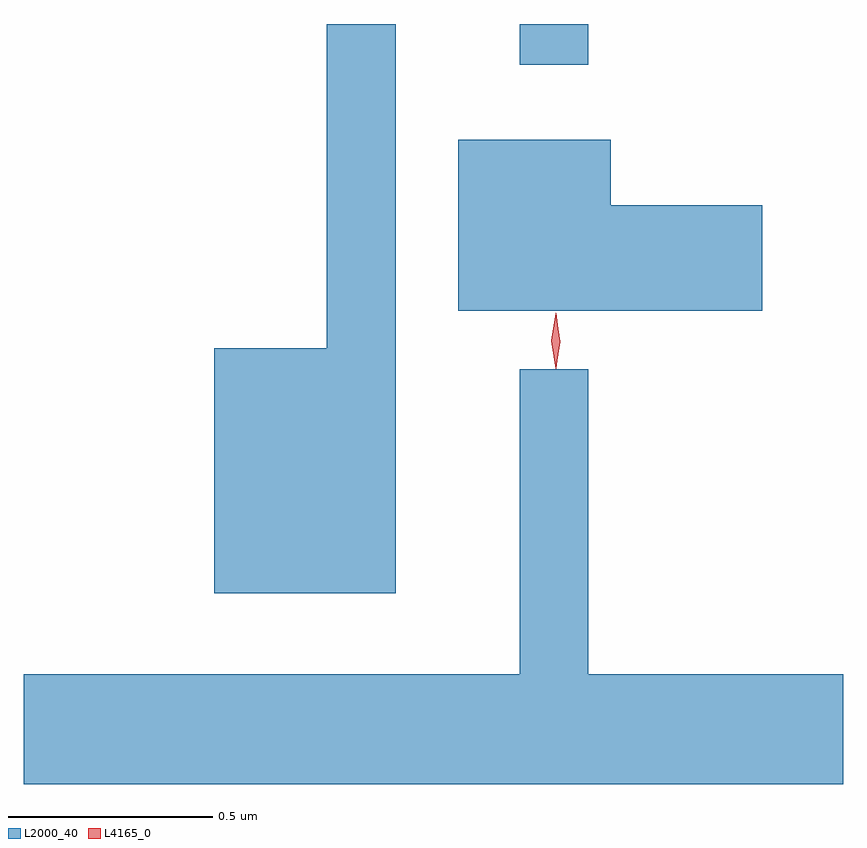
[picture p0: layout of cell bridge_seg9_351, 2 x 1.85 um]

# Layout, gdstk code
import gdstk
lib = gdstk.Library(unit=1e-6, precision=1e-09)
def R(c, l, rs):  # rectangles x0, y0, x1, y1
    for r in rs: c.add(gdstk.rectangle(r[:2], r[2:], *l))
def P(c, l, *ps):  # polygons
    for p in ps: c.add(gdstk.Polygon(p, *l))
L2000_40 = (2000, 40)
L4165_0 = (4165, 0)

bridge_seg9_351 = lib.new_cell('bridge_seg9_351')
R(bridge_seg9_351, L2000_40, [(737.341,2053.512,737.509,2053.611)])
P(bridge_seg9_351, L2000_40, [(737.039,2053.611),(736.871,2053.611),(736.871,2052.819),(736.596,2052.819),(736.596,2052.221),(737.039,2052.221)],
  [(737.934,2053.169),(737.564,2053.169),(737.564,2053.329),(737.191,2053.329),(737.191,2052.911),(737.934,2052.911)],
  [(738.131,2052.024),(737.509,2052.024),(737.509,2052.768),(737.341,2052.768),(737.341,2052.024),(736.131,2052.024),(736.131,2051.756),(738.131,2051.756)])
P(bridge_seg9_351, L4165_0, [(737.429,2052.77),(737.429,2052.77),(737.419,2052.838),(737.429,2052.905),(737.429,2052.906),(737.43,2052.905),(737.439,2052.838),(737.43,2052.77)],
  [(737.43,2052.773),(737.429,2052.774),(737.42,2052.836),(737.429,2052.899),(737.429,2052.9),(737.43,2052.899),(737.44,2052.836),(737.43,2052.774)])

lib.write_gds('bridge_seg9_351.gds')
